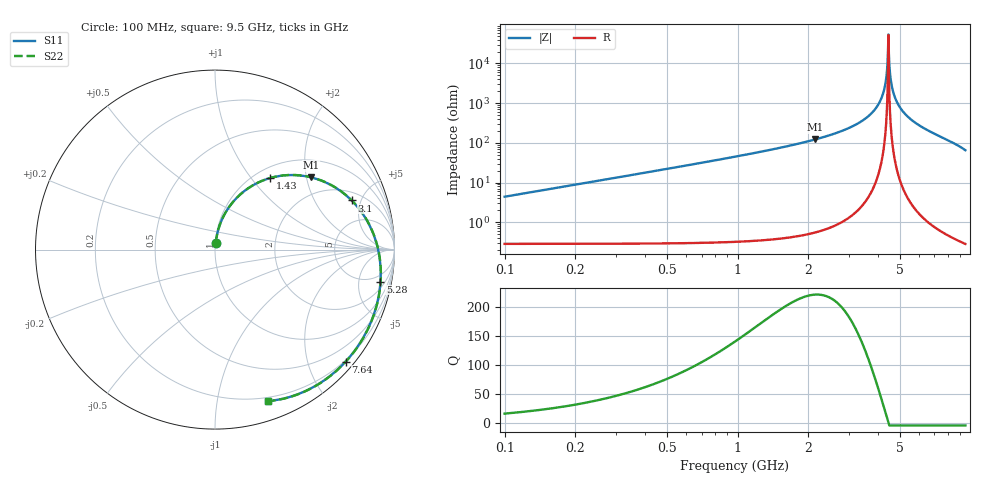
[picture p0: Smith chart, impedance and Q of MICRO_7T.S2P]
! Coilcraft 1606-7 Micro Spring Air Core Inductor
! 16 May 2003
# MHZ S MA R 50
!Freq  MagS11  AngS11  MagS21  AngS21  MagS12  AngS12  MagS22  AngS22
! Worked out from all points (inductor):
!   941 points, 100 MHz to 9.5 GHz, reference 50 ohm
!   read as 1/Y11, port 2 shorted: L = 6.99 nH near 140 MHz
!   highest Q = 221 at 2.15 GHz (marker M1), where L = 9.01 nH
!   self-resonance near 4.43 GHz
!   S11 on the Smith chart (normalised r, x): 100 MHz: 1.01, +0.08; 1.43 GHz: 1.17, +1.24; 3.1 GHz: 2.62, +4.15; 5.28 GHz: 3.13, -9.42; 7.64 GHz: 0.17, -2.69; 9.5 GHz: 0.17, -1.40
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100  0.03962 83.1  0.9964 -2.8  0.9964 -2.8  0.03966 83.1
200  0.07892 82.4  0.994 -5.5  0.994 -5.5  0.07902 82.4
280  0.1102 80.8  0.9911 -7.7  0.9911 -7.7  0.1103 80.8
390  0.1527 78.2  0.9854 -10.7  0.9854 -10.7  0.1529 78.2
530  0.2058 74.7  0.9758 -14.5  0.9758 -14.5  0.2061 74.7
700  0.2683 70.4  0.9605 -19.0  0.9605 -19.0  0.2686 70.4
910  0.3417 65.1  0.937 -24.5  0.937 -24.5  0.3422 65.1
1430  0.5019 52.5  0.8622 -37.2  0.8622 -37.2  0.5025 52.5
1670  0.5645 47.1  0.8227 -42.7  0.8227 -42.7  0.5652 47.1
2150  0.6692 37.0  0.7404 -52.8  0.7404 -52.8  0.67 37.0
2630  0.7496 27.9  0.6592 -62.0  0.6592 -62.0  0.7505 27.9
3100  0.8091 19.8  0.5847 -70.1  0.5847 -70.1  0.8101 19.8
3240  0.8238 17.5  0.5639 -72.4  0.5639 -72.4  0.8248 17.5
3990  0.8842 6.2  0.4636 -83.7  0.4636 -83.7  0.8852 6.2
4800  0.9239 -4.8  0.378 -94.7  0.378 -94.7  0.925 -4.8
5280  0.939 -10.9  0.3385 -100.8  0.3385 -100.8  0.9401 -10.9
6370  0.9576 -24.4  0.2804 -114.2  0.2804 -114.2  0.9587 -24.4
7020  0.9608 -32.5  0.2682 -122.3  0.2682 -122.3  0.9618 -32.5
7640  0.9587 -40.6  0.2746 -130.4  0.2746 -130.4  0.9597 -40.6
7940  0.9555 -44.7  0.285 -134.5  0.285 -134.5  0.9564 -44.7
8710  0.9377 -56.4  0.3376 -146.2  0.3376 -146.2  0.9385 -56.4
9500  0.8943 -70.6  0.4382 -160.5  0.4382 -160.5  0.895 -70.6
